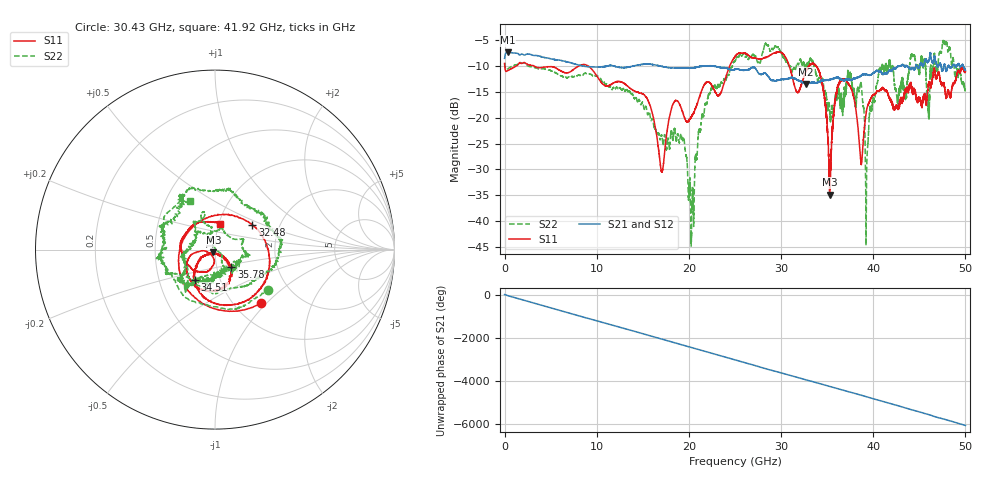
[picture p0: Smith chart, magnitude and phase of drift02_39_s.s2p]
!Created with skrf (http://scikit-rf.org).
# Hz S RI R 50.0
!freq ReS11 ImS11 ReS21 ImS21 ReS12 ImS12 ReS22 ImS22
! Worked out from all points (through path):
!   10001 points, 300 kHz to 50 GHz, reference 50 ohm
!   highest |S21| = -7.32 dB at 325.3 MHz (marker M1); lowest = -13.4 dB at 32.73 GHz (marker M2)
!   group delay of S21, straight-line fit = 335 ps
!   lowest |S11| = -34.9 dB at 35.27 GHz (marker M3), VSWR 1.04, Z = 49.1 - j1.52 ohm
!   |S11| at or under -10 dB: 3.224 GHz to 8.002 GHz (4.778 GHz wide, 85.1 % of centre); 9.106 GHz to 24.41 GHz (15.31 GHz wide, 91.3 % of centre); 33.83 GHz to end of sweep (the widest 3 of 6)
!   |S22| runs from -44.9 to -5.0 dB; largest |S21 - S12| = 0.014
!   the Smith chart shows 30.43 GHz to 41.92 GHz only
!   S11 on the Smith chart (normalised r, x): 30.43 GHz: 1.32, -0.93; 32.48 GHz: 1.45, +0.42; 34.51 GHz: 0.76, -0.26; 35.78 GHz: 1.18, -0.23; 41.92 GHz: 1.02, +0.30
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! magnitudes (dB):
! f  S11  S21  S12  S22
! 300 kHz  -9.5  -8.5  -8.4  -9.4
! 325.3 MHz  -10.9  -7.3  -7.3  -10.6
! 8.335 GHz  -9.7  -9.9  -9.9  -11.6
! 16.67 GHz  -25.6  -9.9  -9.9  -23.0
! 19.31 GHz  -18.9  -10.4  -10.4  -24.4
! 20.37 GHz  -19.5  -10.3  -10.3  -34.1
! 21.94 GHz  -13.1  -9.9  -9.9  -17.1
! 25 GHz  -8.1  -10.6  -10.6  -9.0
! 30.43 GHz  -8.1  -12.5  -12.5  -8.6
! 32.48 GHz  -12.1  -13.2  -13.2  -9.4
! 32.73 GHz  -10.9  -13.4  -13.5  -10.0
! 33.34 GHz  -9.5  -13.1  -13.2  -9.0
! 34.51 GHz  -14.0  -12.8  -12.7  -12.5
! 35.27 GHz  -34.9  -12.6  -12.6  -18.2
! 35.78 GHz  -17.7  -12.3  -12.4  -17.5
! 37.25 GHz  -13.2  -12.6  -12.6  -11.7
! 38.55 GHz  -26.3  -12.0  -12.0  -14.0
! 39.31 GHz  -18.3  -11.6  -11.6  -28.3
! 41.67 GHz  -15.8  -10.9  -11.1  -9.6
! 41.92 GHz  -16.7  -10.9  -11.0  -10.4
! 47.77 GHz  -14.5  -9.8  -9.8  -5.5
! 50 GHz  -11.0  -10.8  -10.7  -14.4
